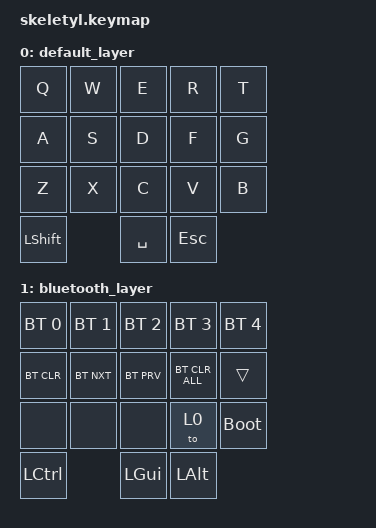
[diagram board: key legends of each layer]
#include <behaviors.dtsi>
#include <dt-bindings/zmk/keys.h>
#include <dt-bindings/zmk/bt.h>

/ {
    keymap {
        compatible = "zmk,keymap";

        default_layer {
            bindings = <
                &kp Q &kp W &kp E &kp R &kp T
                &kp A &kp S &kp D &kp F &kp G
                &kp Z &kp X &kp C &kp V &kp B
                &kp LSHFT &kp SPACE &kp ESC 
            >;
        };

        bluetooth_layer {
            bindings = <
                &bt BT_SEL 0 &bt BT_SEL 1 &bt BT_SEL 2 &bt BT_SEL 3 &bt BT_SEL 4
                &bt BT_CLR &bt BT_NXT &bt BT_PRV &bt BT_CLR_ALL &trans
                &none &none &none &to 0 &bootloader
                &kp LCTRL &kp LGUI &kp LALT
            >;
        };
    };
};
